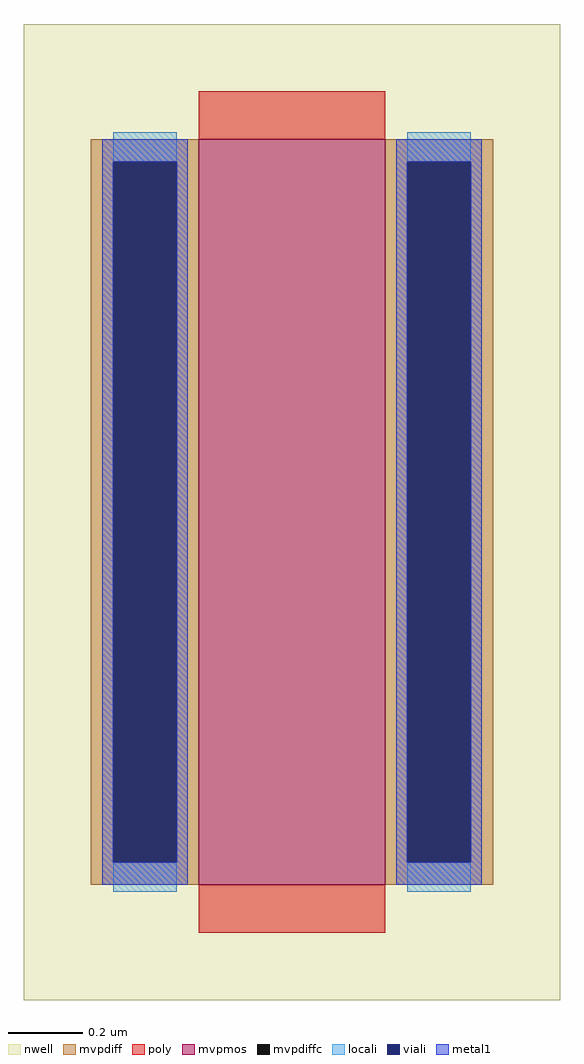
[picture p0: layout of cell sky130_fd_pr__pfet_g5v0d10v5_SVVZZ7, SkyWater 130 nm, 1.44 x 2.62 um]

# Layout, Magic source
magic
tech sky130A
<< nwell >>
rect -72 -131 72 131
<< mvpmos >>
rect -25 -100 25 100
<< mvpdiff >>
rect -54 94 -25 100
rect -54 -94 -48 94
rect -31 -94 -25 94
rect -54 -100 -25 -94
rect 25 94 54 100
rect 25 -94 31 94
rect 48 -94 54 94
rect 25 -100 54 -94
<< mvpdiffc >>
rect -48 -94 -31 94
rect 31 -94 48 94
<< poly >>
rect -25 100 25 113
rect -25 -113 25 -100
<< locali >>
rect -48 94 -31 102
rect -48 -102 -31 -94
rect 31 94 48 102
rect 31 -102 48 -94
<< viali >>
rect -48 -94 -31 94
rect 31 -94 48 94
<< metal1 >>
rect -51 94 -28 100
rect -51 -94 -48 94
rect -31 -94 -28 94
rect -51 -100 -28 -94
rect 28 94 51 100
rect 28 -94 31 94
rect 48 -94 51 94
rect 28 -100 51 -94
<< properties >>
string gencell sky130_fd_pr__pfet_g5v0d10v5
string library sky130
string parameters w 2 l 0.5 m 1 nf 1 diffcov 100 polycov 100 guard 0 glc 1 grc 1 gtc 1 gbc 1 tbcov 100 rlcov 100 topc 0 botc 0 poverlap 0 doverlap 1 lmin 0.50 wmin 0.42 compatible {sky130_fd_pr__pfet_01v8  sky130_fd_pr__pfet_01v8_lvt sky130_fd_pr__pfet_01v8_hvt  sky130_fd_pr__pfet_g5v0d10v5} full_metal 1 viasrc 100 viadrn 100 viagate 100 viagb 0 viagr 0 viagl 0 viagt 0
<< end >>
